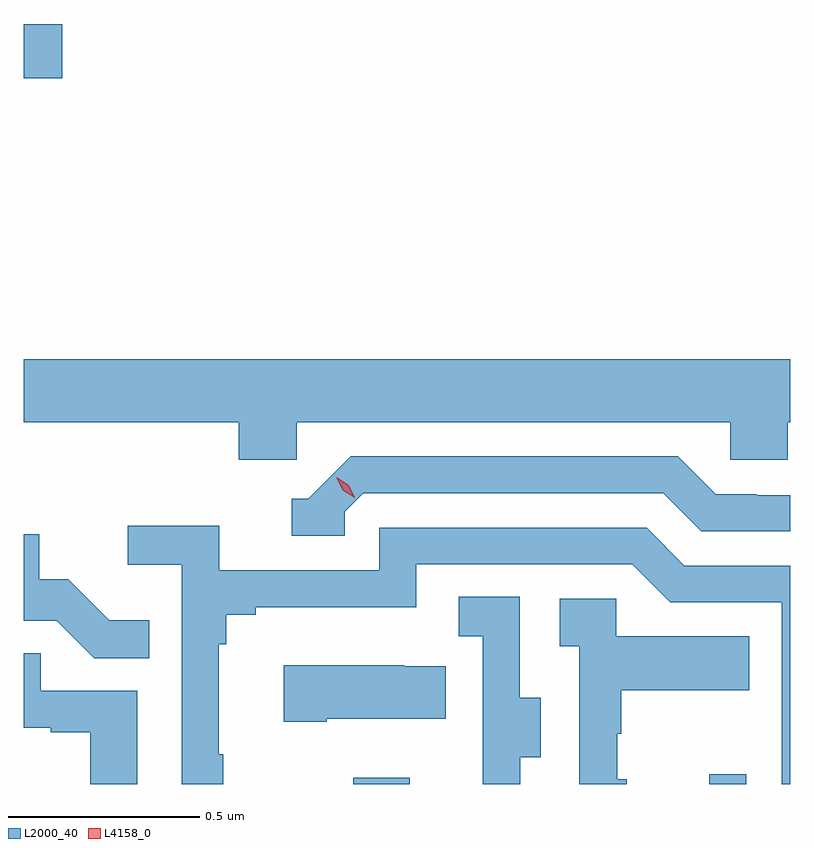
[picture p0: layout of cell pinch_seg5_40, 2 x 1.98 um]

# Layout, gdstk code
import gdstk
lib = gdstk.Library(unit=1e-6, precision=1e-09)
def R(c, l, rs):  # rectangles x0, y0, x1, y1
    for r in rs: c.add(gdstk.rectangle(r[:2], r[2:], *l))
def P(c, l, *ps):  # polygons
    for p in ps: c.add(gdstk.Polygon(p, *l))
L2000_40 = (2000, 40)
L4158_0 = (4158, 0)

pinch_seg5_40 = lib.new_cell('pinch_seg5_40')
R(pinch_seg5_40, L2000_40, [(1114.21,894.444,1114.357,894.46), (1115.138,894.444,1115.235,894.469), (1113.35,896.285,1113.451,896.427)])
P(pinch_seg5_40, L2000_40, [(1114.062,895.388),(1115.193,895.388),(1115.193,895.29),(1115.343,895.29),(1115.343,895.388),(1115.35,895.388),(1115.35,895.552),(1113.35,895.552),(1113.35,895.388),(1113.911,895.388),(1113.911,895.29),(1114.062,895.29)],
  [(1114.188,895.155),(1114.236,895.203),(1115.019,895.203),(1115.118,895.104),(1115.35,895.104),(1115.35,895.197),(1115.262,895.197),(1115.262,895.2),(1115.155,895.2),(1115.056,895.299),(1114.203,895.299),(1114.092,895.188),(1114.049,895.188),(1114.049,895.092),(1114.188,895.092)],
  [(1113.871,894.521),(1113.859,894.521),(1113.859,894.809),(1113.878,894.809),(1113.878,894.886),(1113.955,894.886),(1113.955,894.905),(1114.374,894.905),(1114.374,895.017),(1114.938,895.017),(1115.037,894.918),(1115.328,894.918),(1115.328,894.444),(1115.35,894.444),(1115.35,895.014),(1115.074,895.014),(1114.975,895.113),(1114.278,895.113),(1114.278,895.002),(1113.86,895.002),(1113.86,895.118),(1113.621,895.118),(1113.621,895.016),(1113.762,895.016),(1113.762,894.444),(1113.871,894.444)],
  [(1113.677,894.871),(1113.573,894.871),(1113.466,894.978),(1113.39,894.978),(1113.39,895.095),(1113.35,895.095),(1113.35,894.87),(1113.436,894.87),(1113.534,894.772),(1113.677,894.772)],
  [(1114.645,894.514),(1114.699,894.514),(1114.699,894.669),(1114.644,894.669),(1114.644,894.932),(1114.485,894.932),(1114.485,894.829),(1114.548,894.829),(1114.548,894.525),(1114.547,894.525),(1114.547,894.444),(1114.645,894.444)],
  [(1114.924,894.456),(1114.899,894.456),(1114.899,894.575),(1114.909,894.575),(1114.909,894.689),(1115.243,894.689),(1115.243,894.829),(1114.896,894.829),(1114.896,894.927),(1114.749,894.927),(1114.749,894.803),(1114.8,894.803),(1114.8,894.444),(1114.924,894.444)],
  [(1113.646,894.687),(1113.395,894.687),(1113.395,894.785),(1113.35,894.785),(1113.35,894.591),(1113.421,894.591),(1113.421,894.579),(1113.524,894.579),(1113.524,894.444),(1113.646,894.444)],
  [(1114.141,894.614),(1114.451,894.614),(1114.451,894.751),(1114.343,894.751),(1114.343,894.754),(1114.029,894.754),(1114.029,894.607),(1114.141,894.607)])
P(pinch_seg5_40, L4158_0, [(1114.214,895.191),(1114.183,895.21),(1114.167,895.243),(1114.167,895.243),(1114.168,895.243),(1114.198,895.224),(1114.214,895.191),(1114.214,895.191)])

lib.write_gds('pinch_seg5_40.gds')
